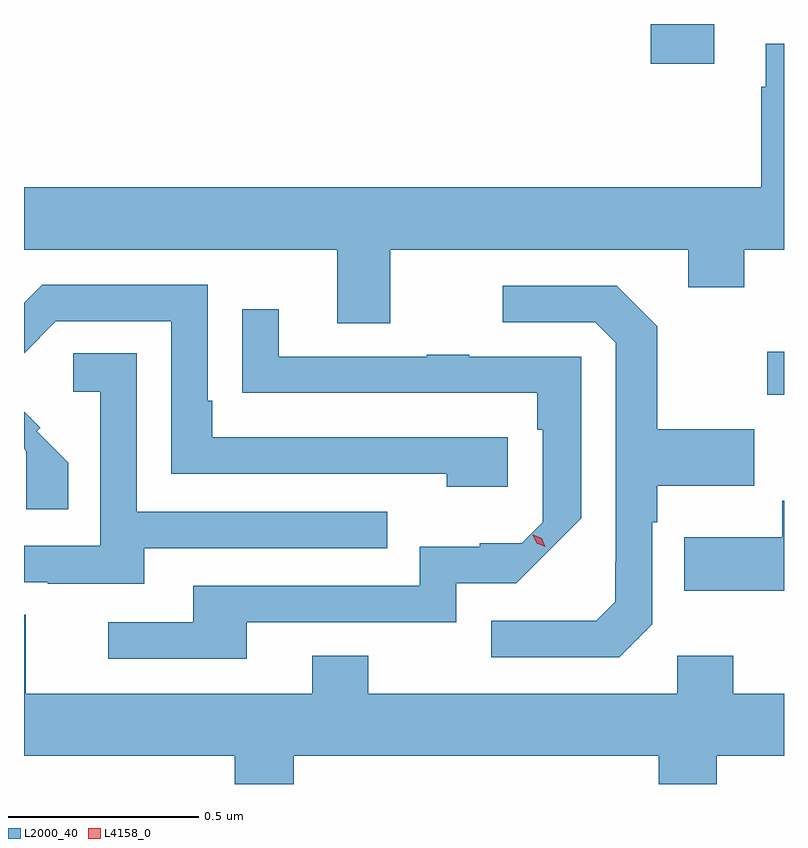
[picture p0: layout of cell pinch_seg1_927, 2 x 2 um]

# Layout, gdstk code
import gdstk
lib = gdstk.Library(unit=1e-6, precision=1e-09)
def R(c, l, rs):  # rectangles x0, y0, x1, y1
    for r in rs: c.add(gdstk.rectangle(r[:2], r[2:], *l))
def P(c, l, *ps):  # polygons
    for p in ps: c.add(gdstk.Polygon(p, *l))
L2000_40 = (2000, 40)
L4158_0 = (4158, 0)

pinch_seg1_927 = lib.new_cell('pinch_seg1_927')
R(pinch_seg1_927, L2000_40, [(615.429,524.711,615.473,524.824), (615.122,525.582,615.289,525.686)])
P(pinch_seg1_927, L2000_40, [(614.437,525.092),(615.221,525.092),(615.221,524.993),(615.369,524.993),(615.369,525.092),(615.473,525.092),(615.473,525.634),(615.425,525.634),(615.425,525.521),(615.413,525.521),(615.413,525.256),(613.473,525.256),(613.473,525.092),(614.297,525.092),(614.297,524.898),(614.437,524.898)],
  [(614.746,524.598),(613.969,524.598),(613.969,524.695),(613.956,524.695),(613.956,525),(613.521,525),(613.473,524.952),(613.473,524.82),(613.557,524.904),(613.86,524.904),(613.86,524.502),(614.585,524.502),(614.585,524.468),(614.746,524.468)],
  [(615.126,524.106),(615.126,524.375),(615.139,524.375),(615.139,524.471),(615.395,524.471),(615.395,524.619),(615.139,524.619),(615.139,524.891),(615.033,524.997),(614.733,524.997),(614.733,524.901),(614.976,524.901),(615.03,524.847),(615.03,524.269),(615.029,524.269),(615.029,524.165),(614.979,524.115),(614.703,524.115),(614.703,524.019),(615.039,524.019)],
  [(614.059,524.112),(614.61,524.112),(614.61,524.214),(614.769,524.214),(614.94,524.385),(614.94,524.811),(614.645,524.811),(614.645,524.816),(614.533,524.816),(614.533,524.811),(614.143,524.811),(614.143,524.935),(614.047,524.935),(614.047,524.716),(614.149,524.716),(614.149,524.715),(614.824,524.715),(614.824,524.618),(614.838,524.618),(614.838,524.375),(614.783,524.32),(614.672,524.32),(614.672,524.311),(614.514,524.311),(614.514,524.208),(613.919,524.208),(613.919,524.112),(613.695,524.112),(613.695,524.016),(614.059,524.016)],
  [(613.789,524.307),(614.429,524.307),(614.429,524.403),(613.77,524.403),(613.77,524.819),(613.602,524.819),(613.602,524.718),(613.674,524.718),(613.674,524.313),(613.473,524.313),(613.473,524.217),(613.535,524.217),(613.535,524.213),(613.789,524.213)],
  [(613.589,524.532),(613.507,524.614),(613.516,524.623),(613.473,524.666),(613.473,524.568),(613.479,524.562),(613.479,524.409),(613.589,524.409)],
  [(615.473,524.431),(615.468,524.431),(615.468,524.335),(615.211,524.335),(615.211,524.195),(615.473,524.195)],
  [(614.183,523.76),(615.143,523.76),(615.143,523.686),(615.296,523.686),(615.296,523.76),(615.473,523.76),(615.473,523.924),(615.339,523.924),(615.339,524.023),(615.192,524.023),(615.192,523.924),(614.379,523.924),(614.379,524.023),(614.231,524.023),(614.231,523.924),(613.477,523.924),(613.477,524.132),(613.473,524.132),(613.473,523.76),(614.027,523.76),(614.027,523.686),(614.183,523.686)])
P(pinch_seg1_927, L4158_0, [(614.845,524.31),(614.822,524.319),(614.812,524.341),(614.812,524.342),(614.813,524.342),(614.836,524.333),(614.845,524.31),(614.845,524.31)])

lib.write_gds('pinch_seg1_927.gds')
